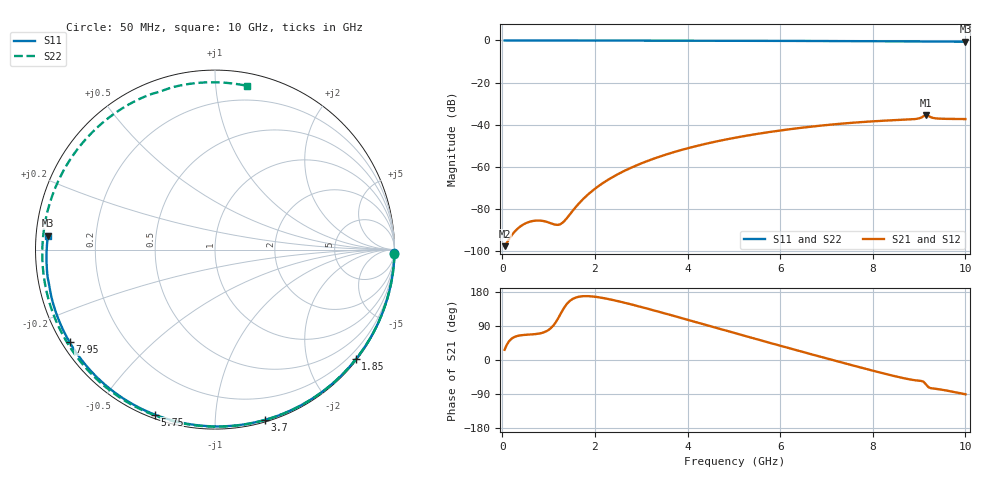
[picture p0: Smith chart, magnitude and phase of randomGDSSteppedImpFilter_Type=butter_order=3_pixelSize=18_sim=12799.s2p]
! freq	dB(S11)	phase(S11)	dB(S12)	phase(S12)
!  dB(S21)	phase(S21)	dB(S22)	phase(S22)
!S-par simulation data
#  GHz  S  DB  R 50
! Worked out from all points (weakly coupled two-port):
!   200 points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, 50 MHz to 10 GHz, reference 50 ohm
!   highest |S21| = -35.40 dB at 9.15 GHz (marker M1); lowest = -97.6 dB at 50 MHz (marker M2)
!   lowest |S11| = -0.6 dB at 10 GHz (marker M3), VSWR 29.35, Z = 1.71 + j2.05 ohm
!   |S11| at or under -10 dB: nowhere
!   |S22| runs from -0.6 to 0.0 dB; largest |S21 - S12| = 0
!   S11 on the Smith chart (normalised r, x): 50 MHz: open; 1.85 GHz: 0.03, -2.91; 3.7 GHz: 0.02, -1.34; 5.75 GHz: 0.02, -0.70; 7.95 GHz: 0.02, -0.29; 10 GHz: 0.03, +0.04
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0.05  -0.00 -1.0  -97.58 27.1  -97.58 27.1  -0.00 -1.5
0.75  -0.02 -15.6  -85.41 68.9  -85.41 68.9  -0.02 -21.9
1.55  -0.04 -31.9  -79.96 162.9  -79.96 162.9  -0.06 -44.7
1.75  -0.05 -35.9  -75.13 168.4  -75.13 168.4  -0.06 -50.3
1.85  -0.05 -37.9  -73.07 168.5  -73.07 168.5  -0.07 -53.0
2.15  -0.06 -43.9  -67.98 164.1  -67.98 164.1  -0.08 -61.3
2.5  -0.06 -50.8  -63.39 155.2  -63.39 155.2  -0.09 -70.7
2.9  -0.08 -58.5  -59.22 143.1  -59.22 143.1  -0.10 -81.4
3.4  -0.09 -68.0  -55.08 126.7  -55.08 126.7  -0.12 -94.4
3.7  -0.10 -73.6  -53.00 116.5  -53.00 116.5  -0.14 -102.1
4.35  -0.12 -85.5  -49.24 94.2  -49.24 94.2  -0.17 -118.5
5.05  -0.15 -97.9  -46.04 70.0  -46.04 70.0  -0.20 -135.9
5.75  -0.19 -110.1  -43.50 46.2  -43.50 46.2  -0.25 -153.4
6.25  -0.22 -118.6  -41.98 29.3  -41.98 29.3  -0.29 -166.2
6.7  -0.25 -126.3  -40.81 14.3  -40.81 14.3  -0.33 -177.9
7.35  -0.30 -137.3  -39.42 -7.2  -39.42 -7.2  -0.39 164.4
7.95  -0.35 -147.6  -38.43 -26.6  -38.43 -26.6  -0.45 147.0
8.35  -0.39 -154.5  -37.94 -39.0  -37.94 -39.0  -0.49 134.8
8.95  -0.47 -165.1  -37.16 -54.0  -37.16 -54.0  -0.55 115.4
9.15  -0.49 -168.6  -35.40 -64.6  -35.40 -64.6  -0.61 108.9
9.35  -0.50 -172.3  -36.93 -75.9  -36.93 -75.9  -0.59 102.1
10  -0.59 175.3  -37.29 -90.4  -37.29 -90.4  -0.64 78.8
